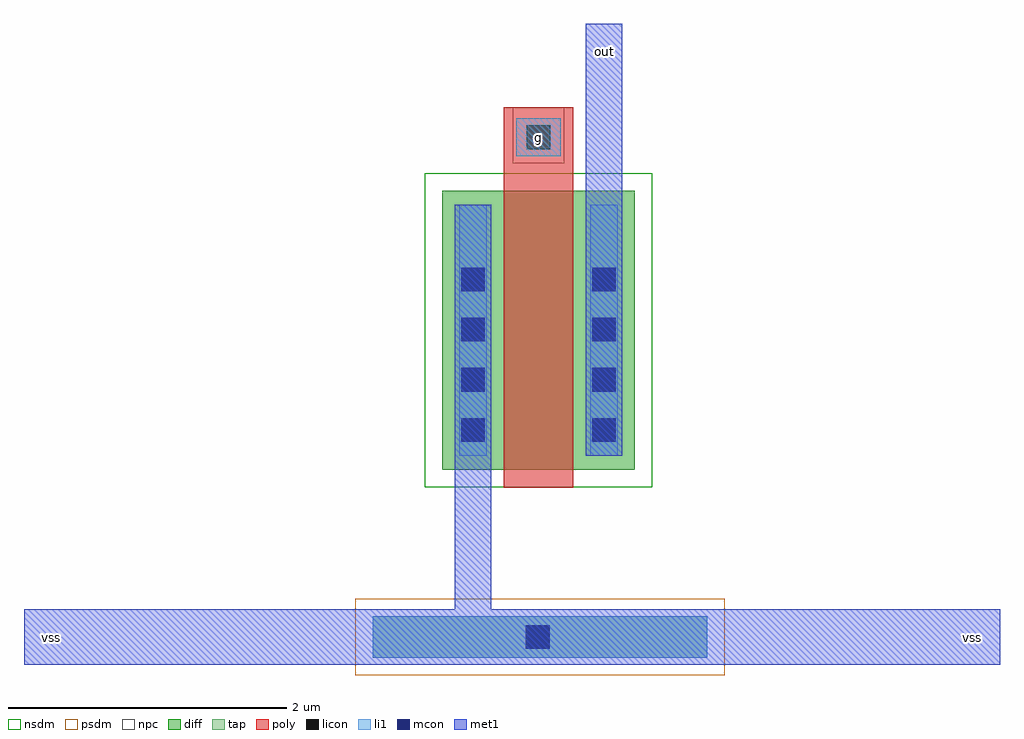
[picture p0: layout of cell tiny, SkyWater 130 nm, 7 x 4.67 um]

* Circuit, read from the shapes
.subckt tiny g out vss
XM1 out g vss vss sky130_fd_pr__nfet_01v8 w=2 l=0.5
.ends

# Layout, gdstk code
import gdstk
lib = gdstk.Library(unit=1e-6, precision=1e-09)
def R(c, l, rs):  # rectangles x0, y0, x1, y1
    for r in rs: c.add(gdstk.rectangle(r[:2], r[2:], *l))
def A(c, l, x, y, w, h, nx, ny, dx, dy):  # array of equal rectangles
    R(c, l, [(x+i*dx, y+j*dy, x+i*dx+w, y+j*dy+h) for i in range(nx) for j in range(ny)])
diff = (65, 20)
tap = (65, 44)
poly = (66, 20)
licon = (66, 44)
li1 = (67, 20)
mcon = (67, 44)
met1 = (68, 20)
nsdm = (93, 44)
psdm = (94, 20)
npc = (95, 20)

tiny = lib.new_cell('tiny')
R(tiny, diff, [(0,0,1.38,2)])
R(tiny, tap, [(-0.5,-1.35,1.9,-1.05)])
R(tiny, poly, [(0.44,-0.13,0.94,2.6)])
A(tiny, licon, 0.135, 0.2, 0.17, 0.17, 1, 4, 0, 0.36)
A(tiny, licon, 1.075, 0.2, 0.17, 0.17, 1, 4, 0, 0.36)
R(tiny, licon, [(0.6,-1.285,0.77,-1.115), (0.605,2.3,0.775,2.47)])
R(tiny, li1, [(-0.5,-1.35,1.9,-1.05), (0.12,0.1,0.32,1.9), (1.06,0.1,1.26,1.9), (0.53,2.25,0.85,2.52)])
A(tiny, mcon, 0.135, 0.2, 0.17, 0.17, 1, 4, 0, 0.36)
A(tiny, mcon, 1.075, 0.2, 0.17, 0.17, 1, 4, 0, 0.36)
R(tiny, mcon, [(0.6,-1.285,0.77,-1.115)])
R(tiny, met1, [(-3,-1.4,4,-1), (0.09,-1.4,0.35,1.9), (1.03,0.1,1.29,3.2)])
R(tiny, nsdm, [(-0.125,-0.125,1.505,2.125)])
R(tiny, psdm, [(-0.625,-1.475,2.025,-0.925)])
R(tiny, npc, [(0.505,2.2,0.875,2.6)])
tiny.add(gdstk.Label('out', (1.16,3), layer=68, texttype=5))
tiny.add(gdstk.Label('vss', (-2.8,-1.2), layer=68, texttype=5))
tiny.add(gdstk.Label('vss', (3.8,-1.2), layer=68, texttype=5))
tiny.add(gdstk.Label('g', (0.69,2.38), layer=67, texttype=5))

lib.write_gds('tiny.gds')
